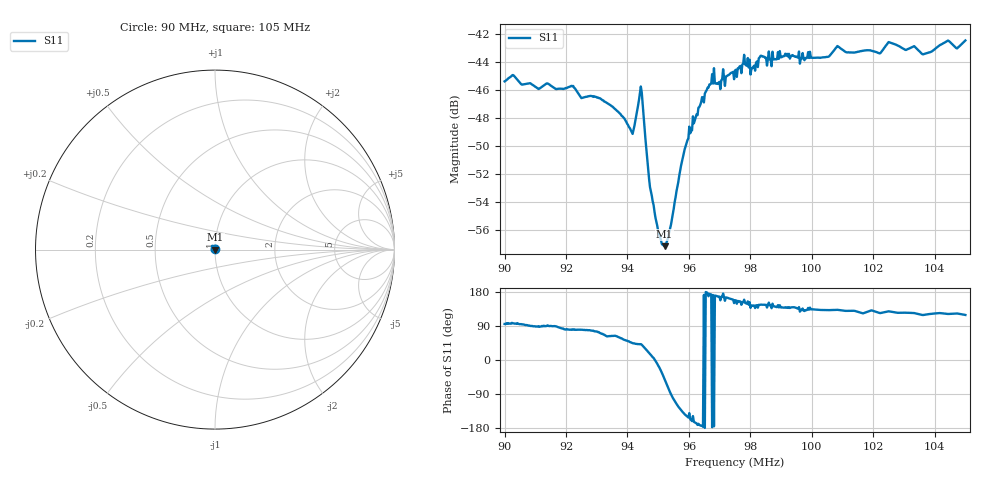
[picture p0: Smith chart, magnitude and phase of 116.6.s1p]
# HZ S RI R 50
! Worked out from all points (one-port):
!   505 points, 90 MHz to 105 MHz, reference 50 ohm
!   lowest |S11| = -57.1 dB at 95.21 MHz (marker M1), VSWR 1.00, Z = 50.1 - j0.109 ohm
!   |S11| at or under -10 dB: start of sweep to end of sweep
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9e7  -0.000468 0.00535
9.026786e7  -0.000665 0.00562
9.187501e7  0.000616 0.00502
9.220239e7  0.000815 0.0051
9.375001e7  0.00213 0.00355
9.416668e7  0.00249 0.00245
9.443454e7  0.00383 0.00344
9.449406e7  0.00352 0.00273
9.476192e7  0.00212 0.000502
9.505954e7  0.00138 -0.000595
9.520835e7  0.000876 -0.00108
9.538692e7  0.00013 -0.0016
9.562502e7  -0.00111 -0.00198
9.607145e7  -0.00332 -0.00133
9.675597e7  -0.00569 -0.000273
9.696431e7  -0.00519 0.00113
9.750002e7  -0.00543 0.00223
9.785717e7  -0.00528 0.00311
9.80655e7  -0.00482 0.00355
9.836312e7  -0.0055 0.00369
9.937503e7  -0.00504 0.00435
1.008334e8  -0.00484 0.0053
1.0125e8  -0.00435 0.00523
1.022024e8  -0.00379 0.00559
1.025298e8  -0.00456 0.00581
1.03125e8  -0.00398 0.00576
1.036608e8  -0.00328 0.00587
1.05e8  -0.00362 0.00658
